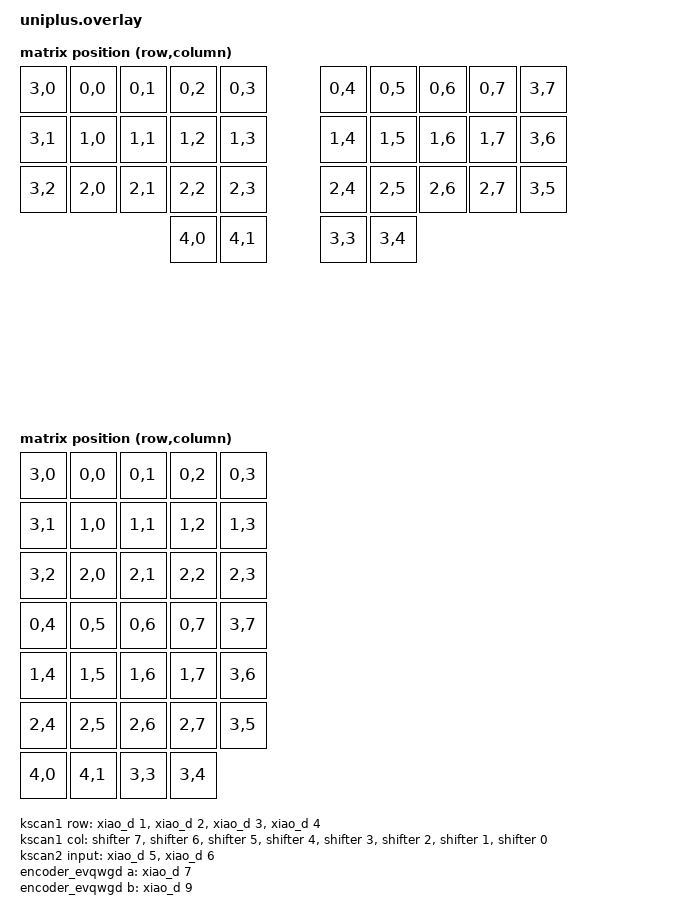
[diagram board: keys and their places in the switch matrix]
#include <physical_layouts.dtsi>
#include <dt-bindings/zmk/matrix_transform.h>

&xiao_spi {
  status = "okay";
  cs-gpios = <&xiao_d 0 GPIO_ACTIVE_LOW>;
  shifter: 595@0 {
    compatible = "zmk,gpio-595";
    status = "okay";
    gpio-controller;
    spi-max-frequency = <200000>;
    reg = <0>;
    #gpio-cells = <2>;
    ngpios = <8>;
  };
};

/ {
  chosen {
    zmk,kscan = &kscan0;
    zmk,physical-layout = &phys0_def_layout;
  };

  phys0_def_layout: phys0_def_layout {
    compatible = "zmk,physical-layout";
    display-name = "Default Layout";
    transform = <&def_transform>;
  };

  phys0_alt_layout: phys0_alt_layout {
    compatible = "zmk,physical-layout";
    display-name = "Default Layout, Alternate Representation";
    transform = <&alt_transform>;
  };

  def_transform: keymap_transform_0 {
    compatible = "zmk,matrix-transform";
    columns = <10>;
    rows = <4>;
    // Left, Right
    // Thumbs
    map = <
      RC(3,0) RC(0,0) RC(0,1) RC(0,2) RC(0,3) RC(0,4) RC(0,5) RC(0,6) RC(0,7) RC(3,7)
      RC(3,1) RC(1,0) RC(1,1) RC(1,2) RC(1,3) RC(1,4) RC(1,5) RC(1,6) RC(1,7) RC(3,6)
      RC(3,2) RC(2,0) RC(2,1) RC(2,2) RC(2,3) RC(2,4) RC(2,5) RC(2,6) RC(2,7) RC(3,5)
                      RC(4,0) RC(4,1) RC(3,3) RC(3,4)
    >;
  };

  alt_transform: keymap_transform_1 {
    compatible = "zmk,matrix-transform";
    columns = <10>;
    rows = <4>;
    // Left
    // Right
    // Thumbs
    map = <
      RC(3,0) RC(0,0) RC(0,1) RC(0,2) RC(0,3)
      RC(3,1) RC(1,0) RC(1,1) RC(1,2) RC(1,3)
      RC(3,2) RC(2,0) RC(2,1) RC(2,2) RC(2,3)

      RC(0,4) RC(0,5) RC(0,6) RC(0,7) RC(3,7)
      RC(1,4) RC(1,5) RC(1,6) RC(1,7) RC(3,6)
      RC(2,4) RC(2,5) RC(2,6) RC(2,7) RC(3,5)       
      RC(4,0) RC(4,1) RC(3,3) RC(3,4)
    >;
  };

  kscan0: kscan_composite {
    compatible = "zmk,kscan-composite";
    rows = <5>;
    columns = <8>;

    matrix {
     kscan = <&kscan1>;
    };

    direct {
     kscan = <&kscan2>;
     row-offset = <4>;
    };
  };

  kscan1: kscan_matrix {
    compatible = "zmk,kscan-gpio-matrix";
    diode-direction = "col2row";

    col-gpios
     = <&shifter 7 GPIO_ACTIVE_HIGH>
     , <&shifter 6 GPIO_ACTIVE_HIGH>
     , <&shifter 5 GPIO_ACTIVE_HIGH>
     , <&shifter 4 GPIO_ACTIVE_HIGH>
     , <&shifter 3 GPIO_ACTIVE_HIGH>
     , <&shifter 2 GPIO_ACTIVE_HIGH>
     , <&shifter 1 GPIO_ACTIVE_HIGH>
     , <&shifter 0 GPIO_ACTIVE_HIGH>
     ;

    row-gpios
     = <&xiao_d 1 (GPIO_ACTIVE_HIGH | GPIO_PULL_DOWN)>
     , <&xiao_d 2 (GPIO_ACTIVE_HIGH | GPIO_PULL_DOWN)>
     , <&xiao_d 3 (GPIO_ACTIVE_HIGH | GPIO_PULL_DOWN)>
     , <&xiao_d 4 (GPIO_ACTIVE_HIGH | GPIO_PULL_DOWN)>
     ;
  };

  kscan2: kscan_direct {
    compatible = "zmk,kscan-gpio-direct";
    wakeup-source;
    input-gpios
     = <&xiao_d 5 (GPIO_ACTIVE_LOW | GPIO_PULL_UP)>
     , <&xiao_d 6 (GPIO_ACTIVE_LOW | GPIO_PULL_UP)>
     ;
  };

  encoder_evqwgd: encoder_evqwgd {
    compatible = "alps,ec11";
    a-gpios = <&xiao_d 7 (GPIO_ACTIVE_HIGH | GPIO_PULL_UP)>;
    b-gpios = <&xiao_d 9 (GPIO_ACTIVE_HIGH | GPIO_PULL_UP)>;
    steps = <30>;
    status = "okay";
  };

  sensors: sensors {
    compatible = "zmk,keymap-sensors";
    sensors = <&encoder_evqwgd>;
    triggers-per-rotation = <15>;
  };
};
